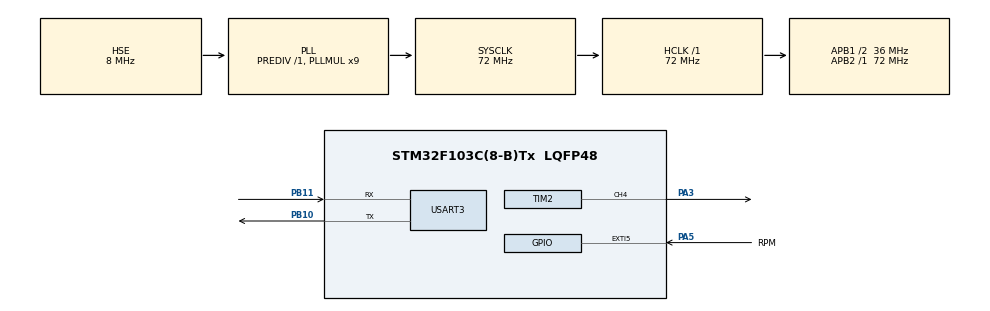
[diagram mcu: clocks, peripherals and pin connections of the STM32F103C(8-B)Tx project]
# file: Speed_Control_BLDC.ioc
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Dma.Request0=USART3_RX
Dma.Request1=USART3_TX
Dma.USART3_RX.0.Direction=DMA_PERIPH_TO_MEMORY
Dma.USART3_RX.0.Instance=DMA1_Channel3
Dma.USART3_RX.0.MemDataAlignment=DMA_MDATAALIGN_BYTE
Dma.USART3_RX.0.MemInc=DMA_MINC_ENABLE
Dma.USART3_RX.0.Mode=DMA_CIRCULAR
Dma.USART3_RX.0.PeriphDataAlignment=DMA_PDATAALIGN_BYTE
Dma.USART3_RX.0.PeriphInc=DMA_PINC_DISABLE
Dma.USART3_RX.0.Priority=DMA_PRIORITY_LOW
Dma.USART3_TX.1.Direction=DMA_MEMORY_TO_PERIPH
Dma.USART3_TX.1.Instance=DMA1_Channel2
Dma.USART3_TX.1.MemDataAlignment=DMA_MDATAALIGN_BYTE
Dma.USART3_TX.1.MemInc=DMA_MINC_ENABLE
Dma.USART3_TX.1.Mode=DMA_NORMAL
Dma.USART3_TX.1.PeriphDataAlignment=DMA_PDATAALIGN_BYTE
Dma.USART3_TX.1.PeriphInc=DMA_PINC_DISABLE
Dma.USART3_TX.1.Priority=DMA_PRIORITY_LOW
Mcu.Family=STM32F1
Mcu.Name=STM32F103C(8-B)Tx
Mcu.Package=LQFP48
NVIC.DMA1_Channel2_IRQn=true\:0\:0\:false\:false\:true\:false\:true\:true
NVIC.DMA1_Channel3_IRQn=true\:0\:0\:false\:false\:true\:false\:true\:true
NVIC.EXTI9_5_IRQn=true\:0\:0\:false\:false\:true\:true\:true\:true
NVIC.PriorityGroup=NVIC_PRIORITYGROUP_4
NVIC.TIM2_IRQn=true\:0\:0\:false\:false\:true\:true\:true\:true
NVIC.USART3_IRQn=true\:0\:0\:false\:false\:true\:true\:true\:true
PA13.Mode=Serial_Wire
PA13.Signal=SYS_JTMS-SWDIO
PA14.Mode=Serial_Wire
PA14.Signal=SYS_JTCK-SWCLK
PA3.Signal=S_TIM2_CH4
PA5.GPIO_Label=RPM
PA5.Signal=GPXTI5
PB10.Mode=Asynchronous
PB10.Signal=USART3_TX
PB11.Mode=Asynchronous
PB11.Signal=USART3_RX
PD0-OSC_IN.Mode=HSE-External-Oscillator
PD0-OSC_IN.Signal=RCC_OSC_IN
PD1-OSC_OUT.Mode=HSE-External-Oscillator
PD1-OSC_OUT.Signal=RCC_OSC_OUT
ProjectManager.HeapSize=0x200
ProjectManager.StackSize=0x400
ProjectManager.TargetToolchain=STM32CubeIDE
RCC.AHBFreq_Value=72000000
RCC.APB1CLKDivider=RCC_HCLK_DIV2
RCC.APB1Freq_Value=36000000
RCC.APB1TimFreq_Value=72000000
RCC.APB2Freq_Value=72000000
RCC.APB2TimFreq_Value=72000000
RCC.HCLKFreq_Value=72000000
RCC.PLLMUL=RCC_PLL_MUL9
RCC.PLLSourceVirtual=RCC_PLLSOURCE_HSE
RCC.SYSCLKFreq_VALUE=72000000
RCC.SYSCLKSource=RCC_SYSCLKSOURCE_PLLCLK
RCC.USBFreq_Value=72000000
SH.S_TIM2_CH4.0=TIM2_CH4,PWM Generation4 CH4
TIM2.Channel-PWM\ Generation4\ CH4=TIM_CHANNEL_4
TIM2.Period=1000-1
TIM2.Prescaler=720-1
USART3.VirtualMode=VM_ASYNC
VP_TIM2_VS_ClockSourceINT.Mode=Internal
board=custom

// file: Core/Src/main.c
/* USER CODE BEGIN Header */
/**
  ******************************************************************************
  * @file           : main.c
  * @brief          : Main program body
  ******************************************************************************
  * @attention
  *
  * Copyright (c) 2023 STMicroelectronics.
  * All rights reserved.
  *
  * This software is licensed under terms that can be found in the LICENSE file
  * in the root directory of this software component.
  * If no LICENSE file comes with this software, it is provided AS-IS.
  *
  ******************************************************************************
  */
/* USER CODE END Header */
#include "main.h"

/* USER CODE BEGIN Includes */
#define PPR 7
#define dt 0.02
#define TRUE 1
#define FALSE 0
#define alpha_speed 0.1
#define SP_PWM(x) (htim2.Instance->CCR4 = x);

#define kp 1
#define ki 0.05
#define kd 0.1
/* USER CODE END Includes */

/* USER CODE BEGIN PTD */
volatile uint8_t IS_TIM_elapsed = FALSE;
volatile uint32_t SpeedCount = 0;
double raw_speed, Speed_f, Speed_d, CFlag, PWM_s;
double e=0, e0=0, I=0, D = 0, pi_out=0, pi_sat=0;
uint16_t Control_in;
uint8_t uartTx_count;
/* USER CODE END PTD */

/* USER CODE BEGIN PM */
double sat(double value,double max, double min){

	if (value >= max){
		return max;
	}
	else if (value <=min){
		return min;
	}
	else{
		return value;
	}
}

/*PI-Controller implementation*/
double piCont(double set, double act){

	e = set - act;

	I += e*0.01;

	D = (e - e0)/0.01;

	e0 = e;

	pi_out = kp*e + ki*I + kd*D;

	pi_sat = sat(pi_out,200,100);

	//Anti-windup Clamping
	if ((pi_out != pi_sat) && (e*pi_out > 0)){

		I = 0;
	}

	return pi_sat;
}
/* USER CODE END PM */

TIM_HandleTypeDef htim2;

UART_HandleTypeDef huart3;
DMA_HandleTypeDef hdma_usart3_rx;
DMA_HandleTypeDef hdma_usart3_tx;

void SystemClock_Config(void);
static void MX_GPIO_Init(void);
static void MX_DMA_Init(void);
static void MX_TIM2_Init(void);
static void MX_USART3_UART_Init(void);
/* USER CODE BEGIN PFP */

struct data{
	double num1;
	double num2;
}__attribute__((packed));

union unionTx{
	struct data dataTx;
	char byteTx[18];
}trans;

union unionRx{
	struct data dataRx;
	char byteRx[16];
}rec;
/* USER CODE END PFP */

/* USER CODE BEGIN 0 */
void HAL_TIM_PeriodElapsedCallback(TIM_HandleTypeDef *htim)
{
	if (htim == &htim2)//100Hz
	{
		IS_TIM_elapsed = TRUE;
	}
}
void HAL_GPIO_EXTI_Callback(uint16_t GPIO_Pin)
{
	if (GPIO_Pin == GPIO_PIN_5)
	{
		SpeedCount++;
	}
}

void HAL_UART_RxCpltCallback(UART_HandleTypeDef *huart)
{
	Speed_d = rec.dataRx.num1;
	CFlag = rec.dataRx.num2;
}

double LPF(double x, double x_old, double alpha){
	return (alpha*x + (1-alpha)*x_old);
}
/* USER CODE END 0 */

int main(void)
{

  /* MCU Configuration--------------------------------------------------------*/

  /* Reset of all peripherals, Initializes the Flash interface and the Systick. */
  HAL_Init();

  /* USER CODE BEGIN Init */
  PWM_s = 100;
  Speed_d = 0;
  /* USER CODE END Init */

  /* Configure the system clock */
  SystemClock_Config();

  /* Initialize all configured peripherals */
  MX_GPIO_Init();
  MX_DMA_Init();
  MX_TIM2_Init();
  MX_USART3_UART_Init();
  /* USER CODE BEGIN 2 */
  HAL_TIM_Base_Start_IT(&htim2);
  HAL_UART_Receive_DMA(&huart3, (uint8_t *)rec.byteRx, 16);
  HAL_TIM_PWM_Start(&htim2, TIM_CHANNEL_4);
  SP_PWM(PWM_s);
  /* USER CODE END 2 */

  /* Infinite loop */
  /* USER CODE BEGIN WHILE */
  trans.dataTx.num1 = 0;
  trans.dataTx.num2 = 0;
  trans.byteTx[16] = 'A';
  trans.byteTx[17] = '\n';
  while (1)
  {
    /* USER CODE END WHILE */

    /* USER CODE BEGIN 3 */
	  if (IS_TIM_elapsed)
	  	  	  	  {
	  	  	  		  raw_speed = ((double) (SpeedCount) * 60) / (PPR * dt);
	  	  	  		  Speed_f = LPF(raw_speed, Speed_f, alpha_speed);

	  	  	  		  SpeedCount = 0;

	  	  	  		  //raw_speed = 13500;
	  	  	  		  //Speed_f = 12000;

	  	  	  		  uartTx_count++;

	  	  	  		  //sprintf(RPM, "%f\n\r", (float)raw_speed);
	  	  	  		  if (CFlag){
	  	  	  			  Control_in = (uint16_t)piCont(Speed_d,Speed_f);
	  	  	  			  SP_PWM(Control_in);
	  	  	  		  }

	  	  	  		  if(uartTx_count % 10 == 0)
	  	  	  		  {
	  	  	  			  //HAL_UART_Transmit_DMA(&huart3, RPM, strlen(RPM));
	  	  	  			  trans.dataTx.num1 = Speed_f;
	  	  	  			  trans.dataTx.num2 = Speed_d;
	  	  	  			  HAL_UART_Transmit_DMA(&huart3, (uint8_t *)trans.byteTx, 18);
	  	  	  			  uartTx_count = 0;
	  	  	  		  }

	  	  	  		  IS_TIM_elapsed = FALSE;
	  	  	  	  }
  }
  /* USER CODE END 3 */
}

void SystemClock_Config(void)
{
  RCC_OscInitTypeDef RCC_OscInitStruct = {0};
  RCC_ClkInitTypeDef RCC_ClkInitStruct = {0};

  /** Initializes the RCC Oscillators according to the specified parameters
  * in the RCC_OscInitTypeDef structure.
  */
  RCC_OscInitStruct.OscillatorType = RCC_OSCILLATORTYPE_HSE;
  RCC_OscInitStruct.HSEState = RCC_HSE_ON;
  RCC_OscInitStruct.HSEPredivValue = RCC_HSE_PREDIV_DIV1;
  RCC_OscInitStruct.HSIState = RCC_HSI_ON;
  RCC_OscInitStruct.PLL.PLLState = RCC_PLL_ON;
  RCC_OscInitStruct.PLL.PLLSource = RCC_PLLSOURCE_HSE;
  RCC_OscInitStruct.PLL.PLLMUL = RCC_PLL_MUL9;
  if (HAL_RCC_OscConfig(&RCC_OscInitStruct) != HAL_OK)
  {
    Error_Handler();
  }

  /** Initializes the CPU, AHB and APB buses clocks
  */
  RCC_ClkInitStruct.ClockType = RCC_CLOCKTYPE_HCLK|RCC_CLOCKTYPE_SYSCLK
                              |RCC_CLOCKTYPE_PCLK1|RCC_CLOCKTYPE_PCLK2;
  RCC_ClkInitStruct.SYSCLKSource = RCC_SYSCLKSOURCE_PLLCLK;
  RCC_ClkInitStruct.AHBCLKDivider = RCC_SYSCLK_DIV1;
  RCC_ClkInitStruct.APB1CLKDivider = RCC_HCLK_DIV2;
  RCC_ClkInitStruct.APB2CLKDivider = RCC_HCLK_DIV1;

  if (HAL_RCC_ClockConfig(&RCC_ClkInitStruct, FLASH_LATENCY_2) != HAL_OK)
  {
    Error_Handler();
  }
}

static void MX_TIM2_Init(void)
{

  TIM_ClockConfigTypeDef sClockSourceConfig = {0};
  TIM_MasterConfigTypeDef sMasterConfig = {0};
  TIM_OC_InitTypeDef sConfigOC = {0};

  htim2.Instance = TIM2;
  htim2.Init.Prescaler = 720-1;
  htim2.Init.CounterMode = TIM_COUNTERMODE_UP;
  htim2.Init.Period = 1000-1;
  htim2.Init.ClockDivision = TIM_CLOCKDIVISION_DIV1;
  htim2.Init.AutoReloadPreload = TIM_AUTORELOAD_PRELOAD_DISABLE;
  if (HAL_TIM_Base_Init(&htim2) != HAL_OK)
  {
    Error_Handler();
  }
  sClockSourceConfig.ClockSource = TIM_CLOCKSOURCE_INTERNAL;
  if (HAL_TIM_ConfigClockSource(&htim2, &sClockSourceConfig) != HAL_OK)
  {
    Error_Handler();
  }
  if (HAL_TIM_PWM_Init(&htim2) != HAL_OK)
  {
    Error_Handler();
  }
  sMasterConfig.MasterOutputTrigger = TIM_TRGO_RESET;
  sMasterConfig.MasterSlaveMode = TIM_MASTERSLAVEMODE_DISABLE;
  if (HAL_TIMEx_MasterConfigSynchronization(&htim2, &sMasterConfig) != HAL_OK)
  {
    Error_Handler();
  }
  sConfigOC.OCMode = TIM_OCMODE_PWM1;
  sConfigOC.Pulse = 0;
  sConfigOC.OCPolarity = TIM_OCPOLARITY_HIGH;
  sConfigOC.OCFastMode = TIM_OCFAST_DISABLE;
  if (HAL_TIM_PWM_ConfigChannel(&htim2, &sConfigOC, TIM_CHANNEL_4) != HAL_OK)
  {
    Error_Handler();
  }
  HAL_TIM_MspPostInit(&htim2);

}

static void MX_USART3_UART_Init(void)
{

  huart3.Instance = USART3;
  huart3.Init.BaudRate = 115200;
  huart3.Init.WordLength = UART_WORDLENGTH_8B;
  huart3.Init.StopBits = UART_STOPBITS_1;
  huart3.Init.Parity = UART_PARITY_NONE;
  huart3.Init.Mode = UART_MODE_TX_RX;
  huart3.Init.HwFlowCtl = UART_HWCONTROL_NONE;
  huart3.Init.OverSampling = UART_OVERSAMPLING_16;
  if (HAL_UART_Init(&huart3) != HAL_OK)
  {
    Error_Handler();
  }

}

static void MX_DMA_Init(void)
{

  /* DMA controller clock enable */
  __HAL_RCC_DMA1_CLK_ENABLE();

  /* DMA interrupt init */
  /* DMA1_Channel2_IRQn interrupt configuration */
  HAL_NVIC_SetPriority(DMA1_Channel2_IRQn, 0, 0);
  HAL_NVIC_EnableIRQ(DMA1_Channel2_IRQn);
  /* DMA1_Channel3_IRQn interrupt configuration */
  HAL_NVIC_SetPriority(DMA1_Channel3_IRQn, 0, 0);
  HAL_NVIC_EnableIRQ(DMA1_Channel3_IRQn);

}

static void MX_GPIO_Init(void)
{
  GPIO_InitTypeDef GPIO_InitStruct = {0};

  /* GPIO Ports Clock Enable */
  __HAL_RCC_GPIOD_CLK_ENABLE();
  __HAL_RCC_GPIOA_CLK_ENABLE();
  __HAL_RCC_GPIOB_CLK_ENABLE();

  /*Configure GPIO pin : RPM_Pin */
  GPIO_InitStruct.Pin = RPM_Pin;
  GPIO_InitStruct.Mode = GPIO_MODE_IT_RISING;
  GPIO_InitStruct.Pull = GPIO_NOPULL;
  HAL_GPIO_Init(RPM_GPIO_Port, &GPIO_InitStruct);

  /* EXTI interrupt init*/
  HAL_NVIC_SetPriority(EXTI9_5_IRQn, 0, 0);
  HAL_NVIC_EnableIRQ(EXTI9_5_IRQn);

}

void Error_Handler(void)
{
  __disable_irq();
  while (1)
  {
  }
}
